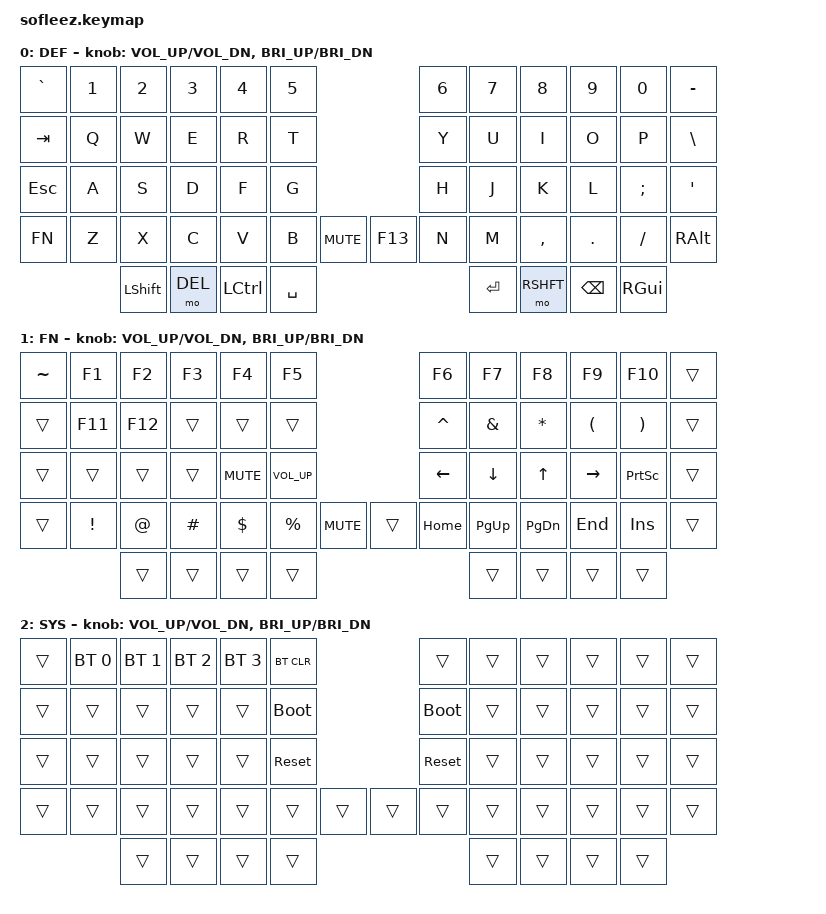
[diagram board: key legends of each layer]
#include <behaviors.dtsi>
#include <dt-bindings/zmk/keys.h>
#include <dt-bindings/zmk/bt.h>

#define DEF 0
#define FN 1
#define SYS 2

#define ___ &trans
#define XXX &none

/ {
    keymap {
        compatible = "zmk,keymap";

        default_layer {
            display-name = "DEF";
            bindings = <
&kp GRAVE &kp N1 &kp N2 &kp N3 &kp N4 &kp N5                &kp N6  &kp N7 &kp N8    &kp N9     &kp N0     &kp MINUS
&kp TAB   &kp Q  &kp W  &kp E  &kp R  &kp T                 &kp Y   &kp U  &kp I     &kp O      &kp P      &kp BSLH
&kp ESC   &kp A  &kp S  &kp D  &kp F  &kp G                         &kp H   &kp J  &kp K     &kp L      &kp SEMI   &kp SQT
&kp FN &kp Z  &kp X  &kp C  &kp V  &kp B  &kp C_MUTE  &kp F13 &kp N   &kp M  &kp COMMA &kp DOT &kp FSLH   &kp RALT
                  &kp LSHFT &mo DEL &kp LCTRL &kp SPACE                      &kp RET &mo RSHFT &kp BSPC &kp RGUI
            >;

            sensor-bindings = <&inc_dec_kp C_VOL_UP C_VOL_DN>, <&inc_dec_kp C_BRI_UP C_BRI_DN>;
        };

        fn_layer {
            display-name = "FN";
            bindings = <
&kp TILDE &kp F1   &kp F2   &kp F3    &kp F4   &kp F5                  &kp F6    &kp F7   &kp F8   &kp F9    &kp F10  ___
___       &kp F11  &kp F12  ___       ___      ___                     &kp CARET &kp AMPS &kp ASTRK &kp LPAR  &kp RPAR ___
___       ___      ___      ___ &kp C_MUTE &kp C_VOL_UP                 &kp LEFT  &kp DOWN &kp UP    &kp RIGHT &kp PSCRN ___
___       &kp EXCL &kp AT   &kp HASH  &kp DLLR &kp PRCNT &kp C_MUTE ___ &kp HOME &kp PG_UP &kp PG_DN &kp END &kp INS ___
                    ___      ___       ___      ___                           ___      ___      ___      ___
            >;

            sensor-bindings = <&inc_dec_kp C_VOL_UP C_VOL_DN>, <&inc_dec_kp C_BRI_UP C_BRI_DN>;
        };

        sys_layer {
            display-name = "SYS";
            bindings = <
___       &bt BT_SEL 0 &bt BT_SEL 1 &bt BT_SEL 2 &bt BT_SEL 3 &bt BT_CLR             ___     ___ ___ ___ ___ ___
___       ___          ___          ___          ___          &bootloader             &bootloader ___ ___ ___ ___ ___
___       ___          ___          ___          ___          &sys_reset                      &sys_reset  ___ ___ ___ ___ ___
___       ___          ___          ___          ___          ___        ___  ___      ___     ___ ___ ___ ___ ___
                         ___          ___          ___          ___                       ___     ___ ___ ___
            >;

            sensor-bindings = <&inc_dec_kp C_VOL_UP C_VOL_DN>, <&inc_dec_kp C_BRI_UP C_BRI_DN>;
        };
    };
};
